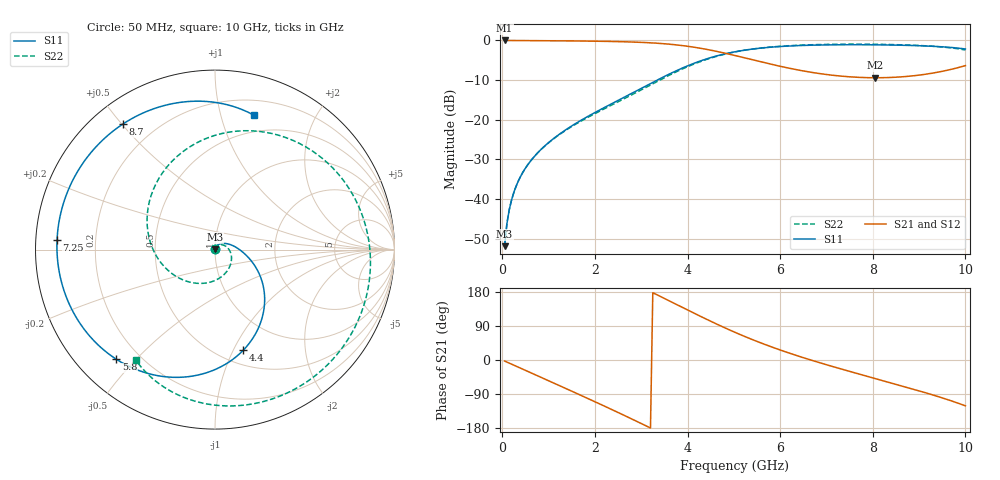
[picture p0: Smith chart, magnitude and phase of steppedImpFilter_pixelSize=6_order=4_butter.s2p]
! freq	dB(S11)	phase(S11)	dB(S12)	phase(S12)
!  dB(S21)	phase(S21)	dB(S22)	phase(S22)
!S-par simulation data
#  GHz  S  DB  R 50
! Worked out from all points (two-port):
!   200 points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, 50 MHz to 10 GHz, reference 50 ohm
!   highest |S21| = -0.01 dB at 50 MHz (marker M1); lowest = -9.4 dB at 8.05 GHz (marker M2)
!   |S21| within 3 dB of the highest: start of sweep to 4.727 GHz
!   lowest |S11| = -51.9 dB at 50 MHz (marker M3), VSWR 1.01, Z = 50.1 + j0.245 ohm
!   |S11| at or under -10 dB: start of sweep to 3.345 GHz
!   |S22| runs from -51.7 to -0.9 dB; largest |S21 - S12| = 0
!   S11 on the Smith chart (normalised r, x): 50 MHz: 1.00, +0.00; 4.4 GHz: 0.65, -1.10; 5.8 GHz: 0.12, -0.44; 7.25 GHz: 0.06, +0.03; 8.7 GHz: 0.09, +0.50; 10 GHz: 0.33, +1.27
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0.05  -51.90 74.2  -0.01 -2.8  -0.01 -2.8  -51.66 75.4
0.1  -46.20 78.1  -0.01 -5.5  -0.01 -5.5  -46.15 77.7
0.2  -40.25 76.4  -0.02 -11.0  -0.02 -11.0  -40.26 75.4
0.45  -33.15 66.0  -0.04 -24.6  -0.04 -24.6  -33.16 63.2
1.15  -24.37 35.0  -0.09 -63.0  -0.09 -63.0  -24.45 20.5
1.75  -19.81 12.4  -0.15 -96.1  -0.15 -96.1  -20.02 -23.2
2.2  -16.95 -1.6  -0.23 -121.4  -0.23 -121.4  -17.27 -60.4
2.65  -14.22 -14.0  -0.34 -147.1  -0.34 -147.1  -14.60 -100.5
3.05  -11.78 -25.1  -0.51 -170.5  -0.51 -170.5  -12.16 -137.2
3.4  -9.67 -35.8  -0.75 168.5  -0.75 168.5  -10.00 -168.8
3.9  -6.91 -53.8  -1.32 138.2  -1.32 138.2  -7.14 148.1
4.4  -4.70 -74.3  -2.23 108.1  -2.23 108.1  -4.84 108.5
5.05  -2.81 -101.9  -3.88 71.6  -3.88 71.6  -2.84 63.7
5.8  -1.70 -132.0  -6.00 35.2  -6.00 35.2  -1.66 21.7
6.25  -1.38 -148.7  -7.14 16.0  -7.14 16.0  -1.29 0.7
6.7  -1.19 -164.6  -8.10 -1.5  -8.10 -1.5  -1.08 -17.7
7.25  -1.09 176.6  -8.93 -21.4  -8.93 -21.4  -0.96 -37.6
8.05  -1.11 149.4  -9.42 -48.7  -9.42 -48.7  -0.97 -63.2
8.35  -1.15 138.9  -9.36 -58.9  -9.36 -58.9  -1.03 -72.2
8.7  -1.23 126.3  -9.12 -70.8  -9.12 -70.8  -1.13 -82.6
9.4  -1.54 99.6  -8.02 -96.1  -8.02 -96.1  -1.56 -104.0
10  -2.16 74.0  -6.35 -121.0  -6.35 -121.0  -2.41 -125.5
